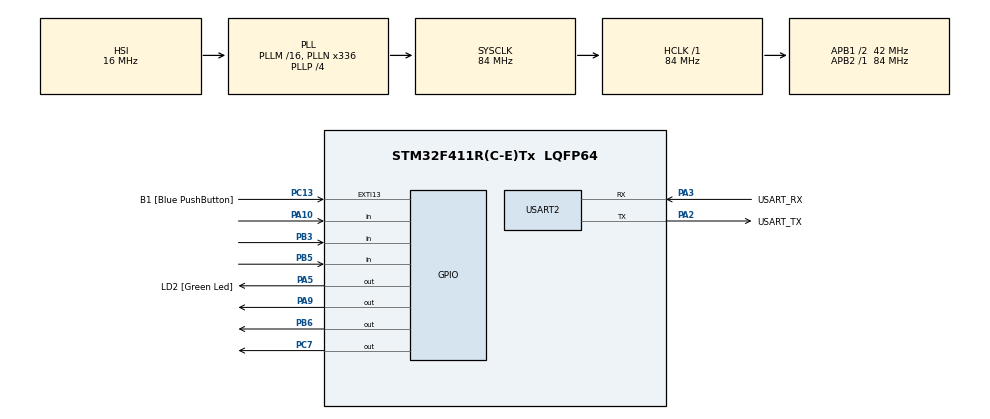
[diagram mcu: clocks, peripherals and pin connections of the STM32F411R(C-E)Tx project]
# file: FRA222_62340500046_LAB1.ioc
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Mcu.Family=STM32F4
Mcu.Name=STM32F411R(C-E)Tx
Mcu.Package=LQFP64
NVIC.PriorityGroup=NVIC_PRIORITYGROUP_0
PA10.Signal=GPIO_Input
PA13.GPIO_Label=TMS
PA13.Mode=Serial_Wire
PA13.Signal=SYS_JTMS-SWDIO
PA14.GPIO_Label=TCK
PA14.Mode=Serial_Wire
PA14.Signal=SYS_JTCK-SWCLK
PA2.GPIO_Label=USART_TX
PA2.Mode=Asynchronous
PA2.Signal=USART2_TX
PA3.GPIO_Label=USART_RX
PA3.Mode=Asynchronous
PA3.Signal=USART2_RX
PA5.GPIO_Label=LD2 [Green Led]
PA5.Signal=GPIO_Output
PA9.Signal=GPIO_Output
PB3.Signal=GPIO_Input
PB5.Signal=GPIO_Input
PB6.Signal=GPIO_Output
PC13-ANTI_TAMP.GPIO_Label=B1 [Blue PushButton]
PC13-ANTI_TAMP.GPIO_ModeDefaultEXTI=GPIO_MODE_IT_FALLING
PC13-ANTI_TAMP.Signal=GPXTI13
PC14-OSC32_IN.Mode=LSE-External-Oscillator
PC14-OSC32_IN.Signal=RCC_OSC32_IN
PC15-OSC32_OUT.Mode=LSE-External-Oscillator
PC15-OSC32_OUT.Signal=RCC_OSC32_OUT
PC7.Signal=GPIO_Output
PH0\ -\ OSC_IN.Mode=HSE-External-Clock-Source
PH0\ -\ OSC_IN.Signal=RCC_OSC_IN
PH1\ -\ OSC_OUT.Mode=HSE-External-Clock-Source
PH1\ -\ OSC_OUT.Signal=RCC_OSC_OUT
ProjectManager.HeapSize=0x200
ProjectManager.StackSize=0x400
ProjectManager.TargetToolchain=STM32CubeIDE
RCC.48MHZClocksFreq_Value=84000000
RCC.AHBFreq_Value=84000000
RCC.APB1CLKDivider=RCC_HCLK_DIV2
RCC.APB1Freq_Value=42000000
RCC.APB1TimFreq_Value=84000000
RCC.APB2Freq_Value=84000000
RCC.APB2TimFreq_Value=84000000
RCC.CortexFreq_Value=84000000
RCC.FLatency-AdvancedSettings=FLASH_LATENCY_2
RCC.HCLKFreq_Value=84000000
RCC.HSE_VALUE=8000000
RCC.HSI_VALUE=16000000
RCC.PLLN=336
RCC.PLLP=RCC_PLLP_DIV4
RCC.SYSCLKFreq_VALUE=84000000
RCC.SYSCLKSource=RCC_SYSCLKSOURCE_PLLCLK
RCC.VCOOutputFreq_Value=336000000
USART2.VirtualMode=VM_ASYNC
board=NUCLEO-F411RE

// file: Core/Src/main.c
/* USER CODE BEGIN Header */
/**
  ******************************************************************************
  * @file           : main.c
  * @brief          : Main program body
  ******************************************************************************
  * @attention
  *
  * <h2><center>&copy; Copyright (c) 2021 STMicroelectronics.
  * All rights reserved.</center></h2>
  *
  * This software component is licensed by ST under BSD 3-Clause license,
  * the "License"; You may not use this file except in compliance with the
  * License. You may obtain a copy of the License at:
  *                        opensource.org/licenses/BSD-3-Clause
  *
  ******************************************************************************
  */
/* USER CODE END Header */
#include "main.h"

UART_HandleTypeDef huart2;

void SystemClock_Config(void);
static void MX_GPIO_Init(void);
static void MX_USART2_UART_Init(void);

int main(void)
{

  /* MCU Configuration--------------------------------------------------------*/

  /* Reset of all peripherals, Initializes the Flash interface and the Systick. */
  HAL_Init();

  /* Configure the system clock */
  SystemClock_Config();

  /* Initialize all configured peripherals */
  MX_GPIO_Init();
  MX_USART2_UART_Init();
  /* USER CODE BEGIN 2 */
  MX_GPIO_Init();
  MX_USART2_UART_Init();
  /* USER CODE BEGIN 2 */
  GPIO_PinState SwitchState1[2];
  GPIO_PinState SwitchState2[2];
  GPIO_PinState SwitchState3[2];
  uint16_t LED1_HalfPeriod = 1000; //Hz
  uint16_t LED3_Period_Open = 1500; //Hz
  uint16_t LED3_Period_Close = 500; //Hz
  uint32_t TimeStamp1 = 0; //for LED1
  uint32_t TimeStamp2 = 0; //for LED3
  uint32_t BTimeStamp = 0;
//  uint8_t c[2];
//  c[0]=1;
  uint8_t d = 1;
  uint8_t g = 1;
  uint8_t c = 1;
  /* USER CODE END 2 */

  /* Infinite loop */
  while (1)
  {

    /* USER CODE BEGIN 3 */
		if(HAL_GetTick() - BTimeStamp >= 100)
		{ BTimeStamp = HAL_GetTick();

			 //S1
			 SwitchState1[0] = HAL_GPIO_ReadPin(GPIOA, GPIO_PIN_10);
			 if(SwitchState1[0] == GPIO_PIN_SET && SwitchState1[1] == GPIO_PIN_RESET)
			 {
				 d=d+1;
				 if(d==2)
				 {
					 LED1_HalfPeriod = 500;
				 }
				 else if(d==3)
				 {
					 LED1_HalfPeriod = 250;
				 }
				 else if (d==4)
				 {
					 LED1_HalfPeriod = 166;
				 }
				 else
				 {
					 LED1_HalfPeriod = 1000;
					 d=1;
				 }
			 }
			 SwitchState1[1] = SwitchState1[0];

			//S2 LED2
			 SwitchState2[0] = HAL_GPIO_ReadPin(GPIOB, GPIO_PIN_3);
			 if(SwitchState2[0] == GPIO_PIN_SET && SwitchState2[1] == GPIO_PIN_RESET)
			 {
					if (HAL_GPIO_ReadPin(GPIOC, GPIO_PIN_7)==GPIO_PIN_SET)
					{
					 HAL_GPIO_WritePin(GPIOC, GPIO_PIN_7, GPIO_PIN_RESET);
					}
					else
					{
					 HAL_GPIO_WritePin(GPIOC, GPIO_PIN_7, GPIO_PIN_SET);
					}
			 }
			 SwitchState2[1] = SwitchState2[0];

			//S3
				SwitchState3[0] = HAL_GPIO_ReadPin(GPIOB, GPIO_PIN_5);
				if(SwitchState3[0] == GPIO_PIN_SET && SwitchState3[1] == GPIO_PIN_RESET)
				{
					c = c+1;
					if(c==2)
					{
						LED3_Period_Open = 500;
						LED3_Period_Close = 1500;

					}
					else
					{
						LED3_Period_Open = 1500;
						LED3_Period_Close = 500;
						c=1;
					}
				}
				SwitchState3[1] = SwitchState3[0];

		}
		//Run LED1
		if(HAL_GetTick() - TimeStamp1 >= LED1_HalfPeriod)
		{
			TimeStamp1 = HAL_GetTick();
			if (HAL_GPIO_ReadPin(GPIOA, GPIO_PIN_9)==GPIO_PIN_SET)
			{
			 HAL_GPIO_WritePin(GPIOA, GPIO_PIN_9, GPIO_PIN_RESET);
			}
			else
			{
			 HAL_GPIO_WritePin(GPIOA, GPIO_PIN_9, GPIO_PIN_SET);
			}
		}

		//Run LED3
		if(HAL_GetTick() - TimeStamp2 >= LED3_Period_Open)
		{
			if (HAL_GPIO_ReadPin(GPIOB, GPIO_PIN_6)==GPIO_PIN_SET)
			{
				HAL_GPIO_WritePin(GPIOB, GPIO_PIN_6, GPIO_PIN_RESET);
				TimeStamp2 = HAL_GetTick();
			}

		}
		if(HAL_GetTick() - TimeStamp2 >= LED3_Period_Close)
		{

			if (HAL_GPIO_ReadPin(GPIOB, GPIO_PIN_6)==GPIO_PIN_RESET)
			{
				HAL_GPIO_WritePin(GPIOB, GPIO_PIN_6, GPIO_PIN_SET);
				TimeStamp2 = HAL_GetTick();
			}
		}

  }
  /* USER CODE END 3 */
}

void SystemClock_Config(void)
{
  RCC_OscInitTypeDef RCC_OscInitStruct = {0};
  RCC_ClkInitTypeDef RCC_ClkInitStruct = {0};

  /** Configure the main internal regulator output voltage
  */
  __HAL_RCC_PWR_CLK_ENABLE();
  __HAL_PWR_VOLTAGESCALING_CONFIG(PWR_REGULATOR_VOLTAGE_SCALE1);
  /** Initializes the RCC Oscillators according to the specified parameters
  * in the RCC_OscInitTypeDef structure.
  */
  RCC_OscInitStruct.OscillatorType = RCC_OSCILLATORTYPE_HSI;
  RCC_OscInitStruct.HSIState = RCC_HSI_ON;
  RCC_OscInitStruct.HSICalibrationValue = RCC_HSICALIBRATION_DEFAULT;
  RCC_OscInitStruct.PLL.PLLState = RCC_PLL_ON;
  RCC_OscInitStruct.PLL.PLLSource = RCC_PLLSOURCE_HSI;
  RCC_OscInitStruct.PLL.PLLM = 16;
  RCC_OscInitStruct.PLL.PLLN = 336;
  RCC_OscInitStruct.PLL.PLLP = RCC_PLLP_DIV4;
  RCC_OscInitStruct.PLL.PLLQ = 4;
  if (HAL_RCC_OscConfig(&RCC_OscInitStruct) != HAL_OK)
  {
    Error_Handler();
  }
  /** Initializes the CPU, AHB and APB buses clocks
  */
  RCC_ClkInitStruct.ClockType = RCC_CLOCKTYPE_HCLK|RCC_CLOCKTYPE_SYSCLK
                              |RCC_CLOCKTYPE_PCLK1|RCC_CLOCKTYPE_PCLK2;
  RCC_ClkInitStruct.SYSCLKSource = RCC_SYSCLKSOURCE_PLLCLK;
  RCC_ClkInitStruct.AHBCLKDivider = RCC_SYSCLK_DIV1;
  RCC_ClkInitStruct.APB1CLKDivider = RCC_HCLK_DIV2;
  RCC_ClkInitStruct.APB2CLKDivider = RCC_HCLK_DIV1;

  if (HAL_RCC_ClockConfig(&RCC_ClkInitStruct, FLASH_LATENCY_2) != HAL_OK)
  {
    Error_Handler();
  }
}

static void MX_USART2_UART_Init(void)
{

  huart2.Instance = USART2;
  huart2.Init.BaudRate = 115200;
  huart2.Init.WordLength = UART_WORDLENGTH_8B;
  huart2.Init.StopBits = UART_STOPBITS_1;
  huart2.Init.Parity = UART_PARITY_NONE;
  huart2.Init.Mode = UART_MODE_TX_RX;
  huart2.Init.HwFlowCtl = UART_HWCONTROL_NONE;
  huart2.Init.OverSampling = UART_OVERSAMPLING_16;
  if (HAL_UART_Init(&huart2) != HAL_OK)
  {
    Error_Handler();
  }

}

static void MX_GPIO_Init(void)
{
  GPIO_InitTypeDef GPIO_InitStruct = {0};

  /* GPIO Ports Clock Enable */
  __HAL_RCC_GPIOC_CLK_ENABLE();
  __HAL_RCC_GPIOH_CLK_ENABLE();
  __HAL_RCC_GPIOA_CLK_ENABLE();
  __HAL_RCC_GPIOB_CLK_ENABLE();

  /*Configure GPIO pin Output Level */
  HAL_GPIO_WritePin(GPIOA, LD2_Pin|GPIO_PIN_9, GPIO_PIN_RESET);

  /*Configure GPIO pin Output Level */
  HAL_GPIO_WritePin(GPIOC, GPIO_PIN_7, GPIO_PIN_RESET);

  /*Configure GPIO pin Output Level */
  HAL_GPIO_WritePin(GPIOB, GPIO_PIN_6, GPIO_PIN_RESET);

  /*Configure GPIO pin : B1_Pin */
  GPIO_InitStruct.Pin = B1_Pin;
  GPIO_InitStruct.Mode = GPIO_MODE_IT_FALLING;
  GPIO_InitStruct.Pull = GPIO_NOPULL;
  HAL_GPIO_Init(B1_GPIO_Port, &GPIO_InitStruct);

  /*Configure GPIO pins : LD2_Pin PA9 */
  GPIO_InitStruct.Pin = LD2_Pin|GPIO_PIN_9;
  GPIO_InitStruct.Mode = GPIO_MODE_OUTPUT_PP;
  GPIO_InitStruct.Pull = GPIO_NOPULL;
  GPIO_InitStruct.Speed = GPIO_SPEED_FREQ_LOW;
  HAL_GPIO_Init(GPIOA, &GPIO_InitStruct);

  /*Configure GPIO pin : PC7 */
  GPIO_InitStruct.Pin = GPIO_PIN_7;
  GPIO_InitStruct.Mode = GPIO_MODE_OUTPUT_PP;
  GPIO_InitStruct.Pull = GPIO_NOPULL;
  GPIO_InitStruct.Speed = GPIO_SPEED_FREQ_LOW;
  HAL_GPIO_Init(GPIOC, &GPIO_InitStruct);

  /*Configure GPIO pin : PA10 */
  GPIO_InitStruct.Pin = GPIO_PIN_10;
  GPIO_InitStruct.Mode = GPIO_MODE_INPUT;
  GPIO_InitStruct.Pull = GPIO_NOPULL;
  HAL_GPIO_Init(GPIOA, &GPIO_InitStruct);

  /*Configure GPIO pins : PB3 PB5 */
  GPIO_InitStruct.Pin = GPIO_PIN_3|GPIO_PIN_5;
  GPIO_InitStruct.Mode = GPIO_MODE_INPUT;
  GPIO_InitStruct.Pull = GPIO_NOPULL;
  HAL_GPIO_Init(GPIOB, &GPIO_InitStruct);

  /*Configure GPIO pin : PB6 */
  GPIO_InitStruct.Pin = GPIO_PIN_6;
  GPIO_InitStruct.Mode = GPIO_MODE_OUTPUT_PP;
  GPIO_InitStruct.Pull = GPIO_NOPULL;
  GPIO_InitStruct.Speed = GPIO_SPEED_FREQ_LOW;
  HAL_GPIO_Init(GPIOB, &GPIO_InitStruct);

}

void Error_Handler(void)
{
  __disable_irq();
  while (1)
  {
  }
}

/************************ (C) COPYRIGHT STMicroelectronics *****END OF FILE****/
